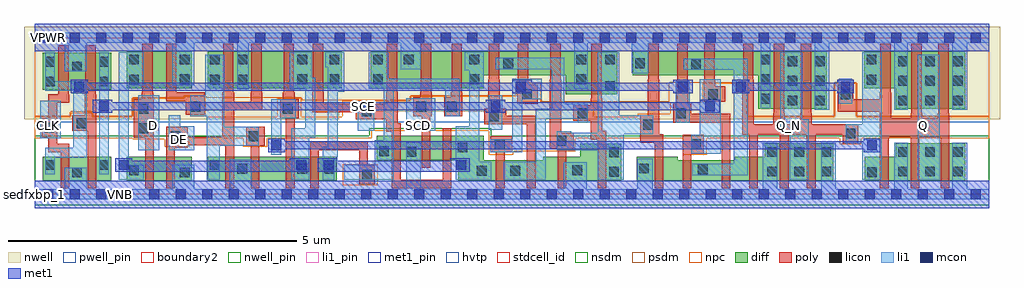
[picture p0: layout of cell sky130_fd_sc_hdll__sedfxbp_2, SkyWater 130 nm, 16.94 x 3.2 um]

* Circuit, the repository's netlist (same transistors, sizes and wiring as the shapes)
* Copyright 2020 The SkyWater PDK Authors
*
* Licensed under the Apache License, Version 2.0 (the "License");
* you may not use this file except in compliance with the License.
* You may obtain a copy of the License at
*
*     https://www.apache.org/licenses/LICENSE-2.0
*
* Unless required by applicable law or agreed to in writing, software
* distributed under the License is distributed on an "AS IS" BASIS,
* WITHOUT WARRANTIES OR CONDITIONS OF ANY KIND, either express or implied.
* See the License for the specific language governing permissions and
* limitations under the License.
*
* SPDX-License-Identifier: Apache-2.0

.SUBCKT sky130_fd_sc_hdll__sedfxbp_2 CLK D DE SCD SCE VGND VNB VPB VPWR Q Q_N
*.PININFO CLK:I D:I DE:I SCD:I SCE:I VGND:I VNB:I VPB:I VPWR:I Q:O
*.PININFO Q_N:O
MI14 net155 M1 VPWR VPB sky130_fd_pr__pfet_01v8_hvt m=1 w=0.42U l=0.18U mult=1
+ sa=0.265 sb=0.265 sd=0.28 area=0.063 perim=1.14
MI637 clkpos clkneg VPWR VPB sky130_fd_pr__pfet_01v8_hvt m=1 w=0.64U l=0.18U mult=1
+ sa=0.265 sb=0.265 sd=0.28 area=0.063 perim=1.14
MI13 S0 clkneg net155 VPB sky130_fd_pr__pfet_01v8_hvt m=1 w=0.42U l=0.18U mult=1
+ sa=0.265 sb=0.265 sd=0.28 area=0.063 perim=1.14
MI651 db clkpos M0 VPB sky130_fd_pr__pfet_01v8_hvt m=1 w=0.42U l=0.18U mult=1 sa=0.265
+ sb=0.265 sd=0.28 area=0.063 perim=1.14
MI645 Q S0 VPWR VPB sky130_fd_pr__pfet_01v8_hvt m=2 w=1.0U l=0.18U mult=1 sa=0.265
+ sb=0.265 sd=0.28 area=0.063 perim=1.14
MI658 net144 M1 VPWR VPB sky130_fd_pr__pfet_01v8_hvt m=1 w=0.42U l=0.18U mult=1
+ sa=0.265 sb=0.265 sd=0.28 area=0.063 perim=1.14
MI638 clkneg CLK VPWR VPB sky130_fd_pr__pfet_01v8_hvt m=1 w=0.64U l=0.18U mult=1
+ sa=0.265 sb=0.265 sd=0.28 area=0.063 perim=1.14
MI643 net127 q1 VPWR VPB sky130_fd_pr__pfet_01v8_hvt m=1 w=0.42U l=0.18U mult=1
+ sa=0.265 sb=0.265 sd=0.28 area=0.063 perim=1.14
MI639 M1 M0 VPWR VPB sky130_fd_pr__pfet_01v8_hvt m=1 w=0.75U l=0.18U mult=1 sa=0.265
+ sb=0.265 sd=0.28 area=0.063 perim=1.14
MI644 S0 clkpos net127 VPB sky130_fd_pr__pfet_01v8_hvt m=1 w=0.42U l=0.18U mult=1
+ sa=0.265 sb=0.265 sd=0.28 area=0.063 perim=1.14
MI659 M0 clkneg net144 VPB sky130_fd_pr__pfet_01v8_hvt m=1 w=0.42U l=0.18U mult=1
+ sa=0.265 sb=0.265 sd=0.28 area=0.063 perim=1.14
MI17 q1 S0 VPWR VPB sky130_fd_pr__pfet_01v8_hvt m=1 w=0.64U l=0.18U mult=1 sa=0.265
+ sb=0.265 sd=0.28 area=0.063 perim=1.14
MI33 net116 deneg VPWR VPB sky130_fd_pr__pfet_01v8_hvt m=1 w=0.64U l=0.18U mult=1
+ sa=0.265 sb=0.265 sd=0.28 area=0.063 perim=1.14
MI47 net107 sceneg db VPB sky130_fd_pr__pfet_01v8_hvt m=1 w=0.64U l=0.18U mult=1
+ sa=0.265 sb=0.265 sd=0.28 area=0.063 perim=1.14
MI46 VPWR SCD net107 VPB sky130_fd_pr__pfet_01v8_hvt m=1 w=0.64U l=0.18U mult=1
+ sa=0.265 sb=0.265 sd=0.28 area=0.063 perim=1.14
MI31 net104 D net116 VPB sky130_fd_pr__pfet_01v8_hvt m=1 w=0.64U l=0.18U mult=1
+ sa=0.265 sb=0.265 sd=0.28 area=0.063 perim=1.14
MI42 net104 SCE db VPB sky130_fd_pr__pfet_01v8_hvt m=1 w=0.64U l=0.18U mult=1 sa=0.265
+ sb=0.265 sd=0.28 area=0.063 perim=1.14
MI40 net96 q1 net104 VPB sky130_fd_pr__pfet_01v8_hvt m=1 w=0.64U l=0.18U mult=1
+ sa=0.265 sb=0.265 sd=0.28 area=0.063 perim=1.14
MI36 deneg DE VPWR VPB sky130_fd_pr__pfet_01v8_hvt m=1 w=0.64U l=0.18U mult=1 sa=0.265
+ sb=0.265 sd=0.28 area=0.063 perim=1.14
MI38 VPWR DE net96 VPB sky130_fd_pr__pfet_01v8_hvt m=1 w=0.64U l=0.18U mult=1 sa=0.265
+ sb=0.265 sd=0.28 area=0.063 perim=1.14
MI44 sceneg SCE VPWR VPB sky130_fd_pr__pfet_01v8_hvt m=1 w=0.64U l=0.18U mult=1
+ sa=0.265 sb=0.265 sd=0.28 area=0.063 perim=1.14
MI52 Q_N q1 VPWR VPB sky130_fd_pr__pfet_01v8_hvt m=2 w=1.0U l=0.18U mult=1 sa=0.265
+ sb=0.265 sd=0.28 area=0.063 perim=1.14
MI634 M1 M0 VGND VNB sky130_fd_pr__nfet_01v8 m=1 w=0.64U l=0.15U mult=1 sa=0.265
+ sb=0.265 sd=0.28 area=0.063 perim=1.14
MI636 clkpos clkneg VGND VNB sky130_fd_pr__nfet_01v8 m=1 w=0.42U l=0.15U mult=1
+ sa=0.265 sb=0.265 sd=0.28 area=0.063 perim=1.14
MI635 clkneg CLK VGND VNB sky130_fd_pr__nfet_01v8 m=1 w=0.42U l=0.15U mult=1 sa=0.265
+ sb=0.265 sd=0.28 area=0.063 perim=1.14
MI641 net240 q1 VGND VNB sky130_fd_pr__nfet_01v8 m=1 w=0.42U l=0.15U mult=1 sa=0.265
+ sb=0.265 sd=0.28 area=0.063 perim=1.14
MI642 S0 clkneg net240 VNB sky130_fd_pr__nfet_01v8 m=1 w=0.36U l=0.15U mult=1 sa=0.265
+ sb=0.265 sd=0.28 area=0.063 perim=1.14
MI648 db clkneg M0 VNB sky130_fd_pr__nfet_01v8 m=1 w=0.36U l=0.15U mult=1 sa=0.265
+ sb=0.265 sd=0.28 area=0.063 perim=1.14
MI646 Q S0 VGND VNB sky130_fd_pr__nfet_01v8 m=2 w=0.65U l=0.15U mult=1 sa=0.265
+ sb=0.265 sd=0.28 area=0.063 perim=1.14
MI656 net224 M1 VGND VNB sky130_fd_pr__nfet_01v8 m=1 w=0.42U l=0.15U mult=1 sa=0.265
+ sb=0.265 sd=0.28 area=0.063 perim=1.14
MI657 M0 clkpos net224 VNB sky130_fd_pr__nfet_01v8 m=1 w=0.36U l=0.15U mult=1 sa=0.265
+ sb=0.265 sd=0.28 area=0.063 perim=1.14
MI43 net104 sceneg db VNB sky130_fd_pr__nfet_01v8 m=1 w=0.42U l=0.15U mult=1 sa=0.265
+ sb=0.265 sd=0.28 area=0.063 perim=1.14
MI18 q1 S0 VGND VNB sky130_fd_pr__nfet_01v8 m=1 w=0.42U l=0.15U mult=1 sa=0.265
+ sb=0.265 sd=0.28 area=0.063 perim=1.14
MI45 sceneg SCE VGND VNB sky130_fd_pr__nfet_01v8 m=1 w=0.42U l=0.15U mult=1 sa=0.265
+ sb=0.265 sd=0.28 area=0.063 perim=1.14
MI32 net104 D net180 VNB sky130_fd_pr__nfet_01v8 m=1 w=0.42U l=0.15U mult=1 sa=0.265
+ sb=0.265 sd=0.28 area=0.063 perim=1.14
MI16 net200 M1 VGND VNB sky130_fd_pr__nfet_01v8 m=1 w=0.42U l=0.15U mult=1 sa=0.265
+ sb=0.265 sd=0.28 area=0.063 perim=1.14
MI15 S0 clkpos net200 VNB sky130_fd_pr__nfet_01v8 m=1 w=0.36U l=0.15U mult=1 sa=0.265
+ sb=0.265 sd=0.28 area=0.063 perim=1.14
MI41 net192 q1 net104 VNB sky130_fd_pr__nfet_01v8 m=1 w=0.42U l=0.15U mult=1 sa=0.265
+ sb=0.265 sd=0.28 area=0.063 perim=1.14
MI39 VGND deneg net192 VNB sky130_fd_pr__nfet_01v8 m=1 w=0.42U l=0.15U mult=1 sa=0.265
+ sb=0.265 sd=0.28 area=0.063 perim=1.14
MI37 deneg DE VGND VNB sky130_fd_pr__nfet_01v8 m=1 w=0.42U l=0.15U mult=1 sa=0.265
+ sb=0.265 sd=0.28 area=0.063 perim=1.14
MI34 net180 DE VGND VNB sky130_fd_pr__nfet_01v8 m=1 w=0.42U l=0.15U mult=1 sa=0.265
+ sb=0.265 sd=0.28 area=0.063 perim=1.14
MI49 net171 SCE db VNB sky130_fd_pr__nfet_01v8 m=1 w=0.42U l=0.15U mult=1 sa=0.265
+ sb=0.265 sd=0.28 area=0.063 perim=1.14
MI48 VGND SCD net171 VNB sky130_fd_pr__nfet_01v8 m=1 w=0.42U l=0.15U mult=1 sa=0.265
+ sb=0.265 sd=0.28 area=0.063 perim=1.14
MI53 Q_N q1 VGND VNB sky130_fd_pr__nfet_01v8 m=2 w=0.65U l=0.15U mult=1 sa=0.265
+ sb=0.265 sd=0.28 area=0.063 perim=1.14
.ENDS sky130_fd_sc_hdll__sedfxbp_2

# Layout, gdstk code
import gdstk
lib = gdstk.Library(unit=1e-6, precision=1e-09)
def R(c, l, rs):  # rectangles x0, y0, x1, y1
    for r in rs: c.add(gdstk.rectangle(r[:2], r[2:], *l))
def A(c, l, x, y, w, h, nx, ny, dx, dy):  # array of equal rectangles
    R(c, l, [(x+i*dx, y+j*dy, x+i*dx+w, y+j*dy+h) for i in range(nx) for j in range(ny)])
def P(c, l, *ps):  # polygons
    for p in ps: c.add(gdstk.Polygon(p, *l))
nwell_pin = (64, 16)
nwell = (64, 20)
diff = (65, 20)
poly = (66, 20)
licon = (66, 44)
li1_pin = (67, 16)
li1 = (67, 20)
mcon = (67, 44)
met1_pin = (68, 16)
met1 = (68, 20)
hvtp = (78, 44)
stdcell_id = (81, 4)
nsdm = (93, 44)
psdm = (94, 20)
npc = (95, 20)
pwell_pin = (122, 16)
boundary2 = (236, 0)

sky130_fd_sc_hdll__sedfx = lib.new_cell('sky130_fd_sc_hdll__sedfxbp_2')
R(sky130_fd_sc_hdll__sedfx, nwell_pin, [(0.145,2.635,0.315,2.805), (0.145,2.635,0.315,2.805)])
P(sky130_fd_sc_hdll__sedfx, nwell, [(16.75,2.91),(-0.19,2.91),(-0.19,1.305),(5.285,1.305),(5.285,1.435),(7.985,1.435),(7.985,1.305),(16.75,1.305)])
R(sky130_fd_sc_hdll__sedfx, diff, [(0.135,0.235,1.325,0.655), (1.595,0.235,2.725,0.655), (2.995,0.235,5.235,0.655), (0.135,1.815,1.325,2.455), (1.595,1.845,2.725,2.485), (2.995,1.845,5.325,2.485)])
P(sky130_fd_sc_hdll__sedfx, diff, [(10.105,2.485),(5.83,2.485),(5.83,1.845),(7.79,1.845),(7.79,2.065),(9.21,2.065),(9.21,1.735),(10.105,1.735)],
  [(10.175,0.875),(9.465,0.875),(9.465,0.655),(8.82,0.655),(8.82,0.595),(7.79,0.595),(7.79,1.015),(5.935,1.015),(5.935,0.595),(7.35,0.595),(7.35,0.235),(10.175,0.235)],
  [(13.745,2.485),(10.375,2.485),(10.375,2.065),(12.555,2.065),(12.555,1.485),(13.745,1.485)],
  [(13.86,0.885),(12.67,0.885),(12.67,0.655),(12.145,0.655),(12.145,0.595),(11.155,0.595),(11.155,0.655),(10.445,0.655),(10.445,0.235),(13.86,0.235)],
  [(16.15,2.485),(14.395,2.485),(14.395,1.845),(14.94,1.845),(14.94,1.485),(16.15,1.485)],
  [(16.15,0.885),(14.94,0.885),(14.94,0.655),(14.405,0.655),(14.405,0.235),(16.15,0.235)])
P(sky130_fd_sc_hdll__sedfx, poly, [(0.595,1.74),(0.585,1.74),(0.585,2.585),(0.405,2.585),(0.405,1.74),(0.235,1.74),(0.235,1.325),(0.115,1.325),(0.115,0.995),(0.235,0.995),(0.235,0.73),(0.445,0.73),(0.445,0.105),(0.595,0.105),(0.595,0.88),(0.385,0.88),(0.385,1.59),(0.595,1.59)],
  [(1.065,1.74),(1.055,1.74),(1.055,2.585),(0.875,2.585),(0.875,1.74),(0.865,1.74),(0.865,1.37),(0.645,1.37),(0.645,1.1),(0.915,1.1),(0.915,0.105),(1.065,0.105)],
  [(2.065,1.65),(2.055,1.65),(2.055,1.77),(2.045,1.77),(2.045,2.615),(1.865,2.615),(1.865,1.77),(1.855,1.77),(1.855,1.65),(1.715,1.65),(1.715,0.98),(1.915,0.98),(1.915,0.105),(2.065,0.105)],
  [(2.945,1.77),(2.455,1.77),(2.455,2.615),(2.275,2.615),(2.275,1.62),(2.615,1.62),(2.615,1.385),(2.945,1.385)],
  [(3.945,1.77),(3.935,1.77),(3.935,2.615),(3.755,2.615),(3.755,1.77),(3.745,1.77),(3.745,1.61),(3.455,1.61),(3.455,1.77),(3.445,1.77),(3.445,2.615),(3.265,2.615),(3.265,1.77),(3.255,1.77),(3.255,1),(2.655,1),(2.655,1.175),(2.275,1.175),(2.275,0.105),(2.425,0.105),(2.425,0.81),(2.655,0.81),(2.655,0.85),(3.305,0.85),(3.305,0.105),(3.455,0.105),(3.455,1.46),(3.945,1.46)],
  [(3.985,1.175),(3.665,1.175),(3.665,0.845),(3.745,0.845),(3.745,0.105),(3.895,0.105),(3.895,0.845),(3.985,0.845)],
  [(4.575,1.65),(4.505,1.65),(4.505,1.77),(4.495,1.77),(4.495,2.615),(4.315,2.615),(4.315,1.77),(4.305,1.77),(4.305,1.65),(4.255,1.65),(4.255,1.32),(4.355,1.32),(4.355,0.105),(4.505,0.105),(4.505,1.32),(4.575,1.32)],
  [(5.9,0.505),(5.78,0.505),(5.78,0.915),(4.775,0.915),(4.775,0.105),(4.925,0.105),(4.925,0.765),(5.63,0.765),(5.63,0.175),(5.9,0.175)],
  [(6.89,1.77),(6.88,1.77),(6.88,2.615),(6.7,2.615),(6.7,1.77),(6.69,1.77),(6.69,1.685),(6.57,1.685),(6.57,1.355),(6.715,1.355),(6.715,0.465),(6.865,0.465),(6.865,1.355),(6.89,1.355)],
  [(7.225,1.145),(7.075,1.145),(7.075,0.255),(6.345,0.255),(6.345,1.235),(6.295,1.235),(6.295,1.77),(6.285,1.77),(6.285,2.615),(6.105,2.615),(6.105,1.77),(6.095,1.77),(6.095,1.575),(5.015,1.575),(5.015,1.77),(5.005,1.77),(5.005,2.615),(4.825,2.615),(4.825,1.77),(4.815,1.77),(4.815,1.425),(5.57,1.425),(5.57,1.305),(6.095,1.305),(6.095,1.09),(6.195,1.09),(6.195,0.105),(7.225,0.105)],
  [(7.42,1.77),(7.41,1.77),(7.41,2.615),(7.23,2.615),(7.23,1.77),(7.22,1.77),(7.22,1.685),(7.1,1.685),(7.1,1.355),(7.42,1.355)],
  [(8.28,1.005),(7.9,1.005),(7.9,0.735),(8,0.735),(8,0.105),(8.15,0.105),(8.15,0.735),(8.28,0.735)],
  [(8.69,1.365),(8.18,1.365),(8.18,1.485),(8.065,1.485),(8.065,1.99),(8.055,1.99),(8.055,2.615),(7.875,2.615),(7.875,1.99),(7.865,1.99),(7.865,1.485),(7.8,1.485),(7.8,1.215),(8.54,1.215),(8.54,0.105),(8.69,0.105)],
  [(8.725,1.905),(8.57,1.905),(8.57,1.99),(8.56,1.99),(8.56,2.615),(8.38,2.615),(8.38,1.99),(8.37,1.99),(8.37,1.575),(8.725,1.575)],
  [(9.355,1.065),(9.135,1.065),(9.135,1.99),(9.125,1.99),(9.125,2.615),(8.945,2.615),(8.945,1.99),(8.935,1.99),(8.935,0.795),(9.07,0.795),(9.07,0.105),(9.22,0.105),(9.22,0.795),(9.355,0.795)],
  [(9.915,1.1),(9.845,1.1),(9.845,1.66),(9.835,1.66),(9.835,2.615),(9.655,2.615),(9.655,1.66),(9.645,1.66),(9.645,1.545),(9.345,1.545),(9.345,1.275),(9.645,1.275),(9.645,0.95),(9.765,0.95),(9.765,0.105),(9.915,0.105)],
  [(10.905,1.045),(10.835,1.045),(10.835,1.99),(10.825,1.99),(10.825,2.615),(10.645,2.615),(10.645,1.99),(10.635,1.99),(10.635,1.375),(10.51,1.375),(10.51,0.895),(10.755,0.895),(10.755,0.105),(10.905,0.105)],
  [(11.61,1.035),(11.24,1.035),(11.24,0.105),(11.39,0.105),(11.39,0.705),(11.61,0.705)],
  [(11.985,1.875),(11.81,1.875),(11.81,1.99),(11.8,1.99),(11.8,2.615),(11.62,2.615),(11.62,1.99),(11.61,1.99),(11.61,1.875),(11.605,1.875),(11.605,1.605),(11.985,1.605)],
  [(12.07,1.395),(11.395,1.395),(11.395,1.575),(11.34,1.575),(11.34,1.99),(11.33,1.99),(11.33,2.615),(11.15,2.615),(11.15,1.99),(11.14,1.99),(11.14,1.575),(11.075,1.575),(11.075,1.245),(11.92,1.245),(11.92,0.105),(12.07,0.105)],
  [(14.29,1.22),(13.485,1.22),(13.485,1.41),(13.475,1.41),(13.475,2.615),(13.295,2.615),(13.295,1.41),(13.285,1.41),(13.285,1.22),(13.015,1.22),(13.015,1.41),(13.005,1.41),(13.005,2.615),(12.825,2.615),(12.825,1.41),(12.815,1.41),(12.815,1.22),(12.48,1.22),(12.48,1.99),(12.47,1.99),(12.47,2.615),(12.29,2.615),(12.29,1.99),(12.28,1.99),(12.28,1.035),(12.395,1.035),(12.395,0.105),(12.545,0.105),(12.545,1.035),(12.93,1.035),(12.93,0.105),(13.08,0.105),(13.08,1.035),(13.4,1.035),(13.4,0.105),(13.55,0.105),(13.55,1.035),(14.02,1.035),(14.02,0.89),(14.29,0.89)],
  [(15.87,1.41),(15.86,1.41),(15.86,2.615),(15.68,2.615),(15.68,1.41),(15.67,1.41),(15.67,1.325),(15.4,1.325),(15.4,1.41),(15.39,1.41),(15.39,2.615),(15.21,2.615),(15.21,1.41),(15.2,1.41),(15.2,1.325),(14.865,1.325),(14.865,1.77),(14.855,1.77),(14.855,2.615),(14.675,2.615),(14.675,1.77),(14.665,1.77),(14.665,1.655),(14.205,1.655),(14.205,1.905),(13.935,1.905),(13.935,1.43),(14.665,1.43),(14.665,0.105),(14.815,0.105),(14.815,0.995),(15.2,0.995),(15.2,0.105),(15.35,0.105),(15.35,0.995),(15.72,0.995),(15.72,0.105),(15.87,0.105)])
A(sky130_fd_sc_hdll__sedfx, licon, 12.71, 0.31, 0.17, 0.17, 3, 2, 0.47, 0.34)
A(sky130_fd_sc_hdll__sedfx, licon, 13.065, 1.545, 0.17, 0.17, 1, 3, 0, 0.34)
A(sky130_fd_sc_hdll__sedfx, licon, 13.535, 1.545, 0.17, 0.17, 1, 3, 0, 0.34)
A(sky130_fd_sc_hdll__sedfx, licon, 14.98, 1.545, 0.17, 0.17, 1, 3, 0, 0.34)
A(sky130_fd_sc_hdll__sedfx, licon, 15.45, 1.545, 0.17, 0.17, 1, 3, 0, 0.34)
A(sky130_fd_sc_hdll__sedfx, licon, 15.93, 1.545, 0.17, 0.17, 1, 3, 0, 0.34)
A(sky130_fd_sc_hdll__sedfx, licon, 12.595, 1.575, 0.17, 0.17, 1, 3, 0, 0.34)
R(sky130_fd_sc_hdll__sedfx, licon, [(5.68,0.255,5.85,0.425), (0.645,0.295,0.815,0.465), (2.515,0.295,2.685,0.465), (14.445,0.3,14.615,0.47), (9.965,0.305,10.135,0.475), (14.98,0.31,15.15,0.48), (15.45,0.31,15.62,0.48), (15.93,0.31,16.1,0.48), (7.67,0.325,7.84,0.495), (8.25,0.325,8.42,0.495), (1.635,0.33,1.805,0.5), (9.325,0.335,9.495,0.505), (11.505,0.35,11.675,0.52), (3.515,0.36,3.685,0.53), (4.555,0.36,4.725,0.53), (5.025,0.36,5.195,0.53), (10.485,0.365,10.655,0.535), (0.175,0.425,0.345,0.595), (1.115,0.425,1.285,0.595), (3.035,0.425,3.205,0.595), (9.965,0.645,10.135,0.815), (14.98,0.65,15.15,0.82), (15.45,0.65,15.62,0.82), (15.93,0.65,16.1,0.82), (6.445,0.655,6.615,0.825), (5.975,0.665,6.145,0.835), (7.335,0.73,7.505,0.9), (7.98,0.785,8.15,0.955), (11.39,0.785,11.56,0.955), (9.055,0.845,9.225,1.015), (2.355,0.925,2.525,1.095), (3.715,0.925,3.885,1.095), (14.07,0.97,14.24,1.14), (1.795,1.06,1.965,1.23), (0.165,1.075,0.335,1.245), (10.56,1.125,10.73,1.295), (0.725,1.15,0.895,1.32), (7.88,1.265,8.05,1.435), (9.425,1.325,9.595,1.495), (11.125,1.325,11.295,1.495), (5.67,1.355,5.84,1.525), (1.795,1.4,1.965,1.57), (4.305,1.4,4.475,1.57), (2.695,1.435,2.865,1.605), (6.62,1.435,6.79,1.605), (7.15,1.435,7.32,1.605), (8.455,1.655,8.625,1.825), (11.685,1.655,11.855,1.825), (13.985,1.655,14.155,1.825), (9.895,1.795,10.065,1.965), (0.175,1.875,0.345,2.045), (1.115,1.875,1.285,2.045), (1.635,1.905,1.805,2.075), (3.035,1.905,3.205,2.075), (3.515,1.905,3.685,2.075), (14.435,1.905,14.605,2.075), (2.515,1.915,2.685,2.085), (4.555,1.915,4.725,2.085), (5.115,1.915,5.285,2.085), (5.87,1.915,6.04,2.085), (7.54,1.915,7.71,2.085), (9.395,1.915,9.565,2.085), (0.645,2.135,0.815,2.305), (11.39,2.175,11.56,2.345), (8.13,2.19,8.3,2.36), (10.415,2.19,10.585,2.36), (0.175,2.215,0.345,2.385), (1.115,2.215,1.285,2.385), (1.635,2.255,1.805,2.425), (2.515,2.255,2.685,2.425), (3.035,2.255,3.205,2.425), (3.515,2.255,3.685,2.425), (4.555,2.255,4.725,2.425), (5.115,2.255,5.285,2.425), (5.87,2.255,6.04,2.425), (6.405,2.255,6.575,2.425), (7.54,2.255,7.71,2.425), (9.395,2.255,9.565,2.425), (9.895,2.255,10.065,2.425), (14.435,2.255,14.605,2.425)])
R(sky130_fd_sc_hdll__sedfx, li1_pin, [(2.445,0.765,2.615,0.935), (0.145,1.105,0.315,1.275), (1.97,1.105,2.14,1.275), (6.58,1.105,6.75,1.275), (13.015,1.105,13.185,1.275), (15.355,1.105,15.525,1.275), (5.67,1.43,5.84,1.6)])
R(sky130_fd_sc_hdll__sedfx, li1, [(15.32,0.255,15.7,2.42), (1.115,0.345,1.285,2.465), (1.795,0.765,2.155,1.72), (0.095,0.975,0.445,1.625), (5.605,1.105,5.885,1.615), (6.445,1.105,6.95,1.665), (7.88,1.125,8.115,1.72), (11.125,1.245,11.365,1.965), (13.955,1.575,14.185,2.01)])
P(sky130_fd_sc_hdll__sedfx, li1, [(0.895,1.965),(0.345,1.965),(0.345,2.465),(0.175,2.465),(0.175,1.795),(0.665,1.795),(0.665,0.805),(0.175,0.805),(0.175,0.345),(0.345,0.345),(0.345,0.635),(0.895,0.635)],
  [(1.885,0.515),(1.625,0.515),(1.625,1.89),(1.885,1.89),(1.885,2.465),(1.455,2.465),(1.455,0.255),(1.885,0.255)],
  [(2.765,1.185),(2.525,1.185),(2.525,1.37),(2.325,1.37),(2.325,0.765),(2.765,0.765)],
  [(3.885,1.175),(3.285,1.175),(3.285,2.425),(2.955,2.425),(2.955,1.72),(2.695,1.72),(2.695,1.355),(2.98,1.355),(2.98,0.255),(3.205,0.255),(3.205,0.845),(3.885,0.845)],
  [(4.525,1.65),(4.105,1.65),(4.105,0.685),(4.275,0.685),(4.275,1.32),(4.525,1.32)],
  [(4.865,2.02),(4.805,2.02),(4.805,2.465),(4.425,2.465),(4.425,1.82),(4.695,1.82),(4.695,1.15),(4.445,1.15),(4.445,0.255),(4.765,0.255),(4.765,0.98),(4.865,0.98)],
  [(5.365,2.465),(5.035,2.465),(5.035,2.21),(5.085,2.21),(5.085,0.825),(4.995,0.825),(4.995,0.255),(5.195,0.255),(5.195,0.645),(5.255,0.645),(5.255,1.785),(5.365,1.785)],
  [(7.37,2.005),(6.13,2.005),(6.13,2.465),(5.79,2.465),(5.79,1.835),(6.055,1.835),(6.055,0.935),(5.895,0.935),(5.895,0.515),(5.365,0.515),(5.365,0.255),(6.225,0.255),(6.225,1.835),(7.12,1.835),(7.12,1.355),(7.37,1.355)],
  [(7.92,0.565),(7.71,0.565),(7.71,1.865),(7.79,1.865),(7.79,2.465),(7.46,2.465),(7.46,2.15),(7.54,2.15),(7.54,1.185),(7.3,1.185),(7.3,0.255),(7.92,0.255)],
  [(8.8,2.005),(8.285,2.005),(8.285,0.955),(7.9,0.955),(7.9,0.735),(8.455,0.735),(8.455,1.655),(8.8,1.655)],
  [(9.595,1.575),(9.19,1.575),(9.19,2.375),(8,2.375),(8,2.175),(8.97,2.175),(8.97,1.485),(8.695,1.485),(8.695,0.565),(8.14,0.565),(8.14,0.255),(8.865,0.255),(8.865,1.315),(9.425,1.315),(9.425,1.245),(9.595,1.245)],
  [(10.73,1.375),(10.145,1.375),(10.145,2.465),(9.765,2.465),(9.765,1.065),(9.305,1.065),(9.305,1.095),(9.055,1.095),(9.055,0.765),(9.765,0.765),(9.765,0.255),(10.22,0.255),(10.22,1.045),(10.73,1.045)],
  [(11.905,1.995),(11.535,1.995),(11.535,1.035),(11.39,1.035),(11.39,0.705),(11.905,0.705)],
  [(12.375,2.355),(11.26,2.355),(11.26,2.165),(12.125,2.165),(12.125,0.535),(11.41,0.535),(11.41,0.33),(12.375,0.33)],
  [(16.56,0.085),(16.18,0.085),(16.18,0.9),(15.92,0.9),(15.92,0.085),(15.15,0.085),(15.15,0.9),(14.915,0.9),(14.915,0.085),(13.9,0.085),(13.9,0.9),(13.65,0.9),(13.65,0.085),(12.88,0.085),(12.88,0.9),(12.63,0.9),(12.63,0.085),(10.725,0.085),(10.725,0.615),(10.45,0.615),(10.45,0.085),(9.575,0.085),(9.575,0.56),(9.18,0.56),(9.18,0.085),(6.695,0.085),(6.695,0.905),(6.445,0.905),(6.445,0.085),(3.765,0.085),(3.765,0.61),(3.385,0.61),(3.385,0.085),(2.765,0.085),(2.765,0.515),(2.385,0.515),(2.385,0.085),(0.895,0.085),(0.895,0.465),(0.515,0.465),(0.515,0.085),(0,0.085),(0,-0.085),(16.56,-0.085)],
  [(13.43,1.3),(13.315,1.3),(13.315,2.465),(12.935,2.465),(12.935,1.065),(13.1,1.065),(13.1,0.255),(13.43,0.255)],
  [(14.695,2.465),(14.355,2.465),(14.355,1.22),(14.07,1.22),(14.07,0.89),(14.355,0.89),(14.355,0.255),(14.695,0.255)],
  [(16.56,2.805),(0,2.805),(0,2.635),(0.515,2.635),(0.515,2.135),(0.895,2.135),(0.895,2.635),(2.385,2.635),(2.385,1.89),(2.765,1.89),(2.765,2.635),(3.515,2.635),(3.515,1.825),(3.71,1.825),(3.71,2.635),(6.35,2.635),(6.35,2.175),(6.695,2.175),(6.695,2.635),(9.36,2.635),(9.36,1.835),(9.595,1.835),(9.595,2.635),(10.355,2.635),(10.355,2.105),(10.645,2.105),(10.645,2.635),(12.595,2.635),(12.595,1.495),(12.765,1.495),(12.765,2.635),(13.535,2.635),(13.535,1.465),(13.785,1.465),(13.785,2.635),(14.915,2.635),(14.915,1.465),(15.15,1.465),(15.15,2.635),(15.92,2.635),(15.92,1.465),(16.18,1.465),(16.18,2.635),(16.56,2.635)])
A(sky130_fd_sc_hdll__sedfx, mcon, 0.145, -0.085, 0.17, 0.17, 36, 2, 0.46, 2.72)
R(sky130_fd_sc_hdll__sedfx, mcon, [(1.455,0.425,1.625,0.595), (4.535,0.425,4.705,0.595), (5.015,0.425,5.185,0.595), (7.315,0.425,7.485,0.595), (4.105,0.765,4.275,0.935), (14.445,0.765,14.615,0.935), (1.115,1.445,1.285,1.615), (7.91,1.445,8.08,1.615), (11.63,1.445,11.8,1.615), (0.685,1.785,0.855,1.955), (8.345,1.785,8.515,1.955), (11.16,1.785,11.33,1.955), (12.165,1.785,12.335,1.955), (13.985,1.785,14.155,1.955)])
R(sky130_fd_sc_hdll__sedfx, met1_pin, [(0.145,-0.085,0.315,0.085), (0.145,2.635,0.315,2.805)])
R(sky130_fd_sc_hdll__sedfx, met1, [(0,-0.24,16.56,0.24), (0,2.48,16.56,2.96)])
P(sky130_fd_sc_hdll__sedfx, met1, [(11.415,1.985),(11.075,1.985),(11.075,1.94),(8.625,1.94),(8.625,1.985),(8.285,1.985),(8.285,1.94),(0.915,1.94),(0.915,1.985),(0.625,1.985),(0.625,1.755),(0.915,1.755),(0.915,1.8),(8.285,1.8),(8.285,1.755),(8.625,1.755),(8.625,1.8),(11.075,1.8),(11.075,1.755),(11.415,1.755)],
  [(7.545,0.625),(7.205,0.625),(7.205,0.58),(5.245,0.58),(5.245,0.625),(4.905,0.625),(4.905,0.395),(7.545,0.395)],
  [(4.765,0.625),(4.425,0.625),(4.425,0.58),(1.685,0.58),(1.685,0.625),(1.395,0.625),(1.395,0.395),(4.765,0.395)],
  [(11.885,1.645),(11.545,1.645),(11.545,1.6),(8.165,1.6),(8.165,1.645),(7.825,1.645),(7.825,1.6),(1.345,1.6),(1.345,1.645),(1.005,1.645),(1.005,1.415),(1.345,1.415),(1.345,1.46),(7.825,1.46),(7.825,1.415),(8.165,1.415),(8.165,1.46),(11.545,1.46),(11.545,1.415),(11.885,1.415)],
  [(14.215,1.985),(13.925,1.985),(13.925,1.94),(12.395,1.94),(12.395,1.985),(12.105,1.985),(12.105,1.755),(12.395,1.755),(12.395,1.8),(13.925,1.8),(13.925,1.755),(14.215,1.755)],
  [(14.675,0.965),(14.385,0.965),(14.385,0.92),(4.335,0.92),(4.335,0.965),(4.045,0.965),(4.045,0.735),(4.335,0.735),(4.335,0.78),(14.385,0.78),(14.385,0.735),(14.675,0.735)])
R(sky130_fd_sc_hdll__sedfx, hvtp, [(0,1.25,16.56,2.72)])
R(sky130_fd_sc_hdll__sedfx, stdcell_id, [(0,0,16.56,2.72)])
P(sky130_fd_sc_hdll__sedfx, nsdm, [(16.56,1.015),(7.92,1.015),(7.92,1.145),(5.805,1.145),(5.805,1.015),(0,1.015),(0,-0.19),(16.56,-0.19)])
P(sky130_fd_sc_hdll__sedfx, psdm, [(16.56,2.91),(0,2.91),(0,1.355),(0.615,1.355),(0.615,1.43),(1.005,1.43),(1.005,1.355),(1.685,1.355),(1.685,1.68),(2.585,1.68),(2.585,1.715),(2.975,1.715),(2.975,1.68),(4.635,1.68),(4.635,1.635),(6.51,1.635),(6.51,1.715),(8.345,1.715),(8.345,1.935),(8.785,1.935),(8.785,1.605),(11.005,1.605),(11.005,1.935),(12.375,1.935),(12.375,1.355),(13.875,1.355),(13.875,1.935),(14.265,1.935),(14.265,1.355),(16.56,1.355)])
R(sky130_fd_sc_hdll__sedfx, npc, [(5.345,0.155,5.95,0.525)])
P(sky130_fd_sc_hdll__sedfx, npc, [(16.56,1.345),(14.255,1.345),(14.255,1.925),(13.885,1.925),(13.885,1.345),(12.365,1.345),(12.365,1.925),(11.585,1.925),(11.585,1.595),(11.025,1.595),(11.025,1.395),(10.46,1.395),(10.46,1.345),(9.695,1.345),(9.695,1.595),(8.775,1.595),(8.775,1.925),(8.355,1.925),(8.355,1.705),(6.52,1.705),(6.52,1.625),(5.335,1.625),(5.335,1.345),(4.625,1.345),(4.625,1.67),(4.205,1.67),(4.205,1.345),(2.965,1.345),(2.965,1.705),(2.595,1.705),(2.595,1.67),(1.695,1.67),(1.695,1.345),(0.995,1.345),(0.995,1.42),(0.625,1.42),(0.625,1.345),(0,1.345),(0,0.975),(1.695,0.975),(1.695,0.96),(2.255,0.96),(2.255,0.825),(2.675,0.825),(2.675,0.975),(3.615,0.975),(3.615,0.825),(4.035,0.825),(4.035,0.975),(5.845,0.975),(5.845,1.105),(7.88,1.105),(7.88,0.685),(8.3,0.685),(8.3,0.745),(9.375,0.745),(9.375,0.975),(11.24,0.975),(11.24,0.685),(11.66,0.685),(11.66,0.975),(13.97,0.975),(13.97,0.87),(14.34,0.87),(14.34,0.975),(16.56,0.975)])
R(sky130_fd_sc_hdll__sedfx, pwell_pin, [(0.145,-0.085,0.315,0.085), (0.145,-0.085,0.315,0.085)])
R(sky130_fd_sc_hdll__sedfx, boundary2, [(0,0,16.56,2.72)])
sky130_fd_sc_hdll__sedfx.add(gdstk.Label('sedfxbp_1', (0,0), layer=83, texttype=44))
sky130_fd_sc_hdll__sedfx.add(gdstk.Label('VPWR', (0.23,2.72), layer=68, texttype=5))
sky130_fd_sc_hdll__sedfx.add(gdstk.Label('VGND', (0.23,0), layer=68, texttype=5))
sky130_fd_sc_hdll__sedfx.add(gdstk.Label('CLK', (0.23,1.19), layer=67, texttype=5))
sky130_fd_sc_hdll__sedfx.add(gdstk.Label('Q_N', (13.085,1.19), layer=67, texttype=5))
sky130_fd_sc_hdll__sedfx.add(gdstk.Label('SCD', (6.66,1.19), layer=67, texttype=5))
sky130_fd_sc_hdll__sedfx.add(gdstk.Label('DE', (2.515,0.95), layer=67, texttype=5))
sky130_fd_sc_hdll__sedfx.add(gdstk.Label('D', (2.055,1.19), layer=67, texttype=5))
sky130_fd_sc_hdll__sedfx.add(gdstk.Label('Q', (15.43,1.19), layer=67, texttype=5))
sky130_fd_sc_hdll__sedfx.add(gdstk.Label('SCE', (5.71,1.53), layer=67, texttype=5))
sky130_fd_sc_hdll__sedfx.add(gdstk.Label('VPB', (0.23,2.72), layer=64, texttype=5))
sky130_fd_sc_hdll__sedfx.add(gdstk.Label('VPB', (0.23,2.72), layer=64, texttype=5))
sky130_fd_sc_hdll__sedfx.add(gdstk.Label('VNB', (1.48,0), layer=64, texttype=59))
sky130_fd_sc_hdll__sedfx.add(gdstk.Label('VNB', (0.23,0), layer=64, texttype=59))
sky130_fd_sc_hdll__sedfx.add(gdstk.Label('VNB', (0.23,0), layer=64, texttype=59))

lib.write_gds('sky130_fd_sc_hdll__sedfxbp_2.gds')
